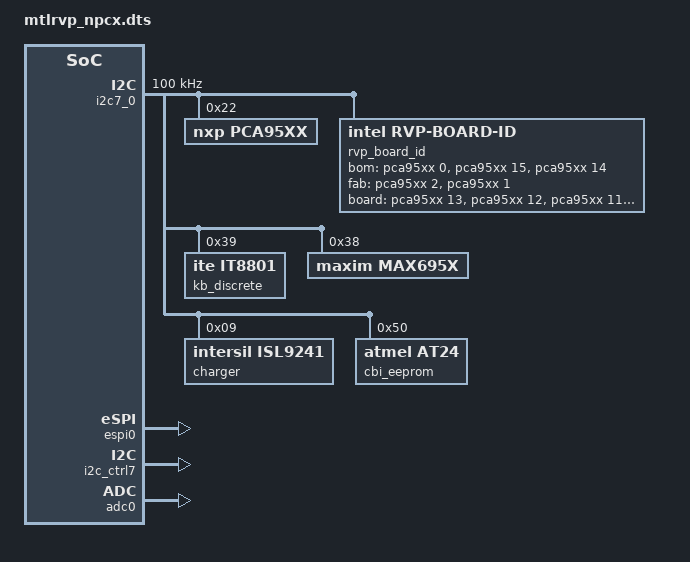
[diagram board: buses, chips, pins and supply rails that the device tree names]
/* Copyright 2022 The ChromiumOS Authors
 * Use of this source code is governed by a BSD-style license that can be
 * found in the LICENSE file.
 */

 #include <dt-bindings/usb_pd_tcpm.h>

/ {
	chosen {
		cros,rtc = &mtc;
	};

	hibernate-wake-pins {
		compatible = "cros-ec,hibernate-wake-pins";
		wakeup-irqs = <
			&int_ac_present
			&int_lid_open
			&int_power_button
		>;
	};

	named-i2c-ports {
		compatible = "named-i2c-ports";

		i2c_charger: charger {
			i2c-port = <&i2c7_0>;
			enum-names = "I2C_PORT_CHARGER",
				"I2C_PORT_BATTERY",
				"I2C_PORT_EEPROM",
				"I2C_PORT_KB_DISCRETE",
				"I2C_PORT_PORT80";
		};
	};

	named-adc-channels {
		compatible = "named-adc-channels";

		adc_ambient: ambient {
			enum-name = "ADC_TEMP_SENSOR_1";
			io-channels = <&adc0 3>;
		};
		adc_ddr: ddr {
			enum-name = "ADC_TEMP_SENSOR_2";
			io-channels = <&adc0 4>;
		};
		adc_skin: skin {
			enum-name = "ADC_TEMP_SENSOR_3";
			io-channels = <&adc0 2>;
		};
		adc_vr: vr {
			enum-name = "ADC_TEMP_SENSOR_4";
			io-channels = <&adc0 1>;
		};
	};
};

/* charger */
&i2c7_0 {
	label = "I2C_CHARGER";
	status = "okay";
	clock-frequency = <I2C_BITRATE_STANDARD>;
	pinctrl-0 = <&i2c7_0_sda_scl_gpb2_b3>;
	pinctrl-names = "default";

	pca95xx: pca95xx@22 {
		compatible = "nxp,pca95xx";
		label = "PCA95XX";
		reg = <0x22>;
		gpio-controller;
		#gpio-cells = <2>;
		ngpios = <16>;
	};

	rvp_board_id: rvp-board-id {
		compatible = "intel,rvp-board-id";

		/*
		 * BOM ID [2]   : IOEX[0]
		 * BOM ID [1:0] : IOEX[15:14]
		 */
		bom-gpios = <&pca95xx 0 0>, <&pca95xx 15 0>, <&pca95xx 14 0>;

		/*
		 * FAB ID [1:0] : IOEX[2:1]
		 */
		fab-gpios = <&pca95xx 2 0>, <&pca95xx 1 0>;

		/*
		 * BOARD ID[5:0] : IOEX[13:8]
		 */
		board-gpios = <&pca95xx 13 0>, <&pca95xx 12 0>, <&pca95xx 11 0>,
			      <&pca95xx 10 0>, <&pca95xx 9 0>, <&pca95xx 8 0>;
	};

	kb_discrete: ite-it8801@39 {
		compatible = "ite,it8801";
		reg = <0x39>;
	};

	max695x@38 {
		compatible = "maxim,max695x";
		reg = <0x38>;
	};

	charger: isl9241@9 {
		compatible = "intersil,isl9241";
		status = "okay";
		reg = <0x9>;
	};

	cbi_eeprom: eeprom@50 {
		compatible = "atmel,at24";
		reg = <0x50>;
		size = <2048>;
		pagesize = <16>;
		address-width = <8>;
		timeout = <5>;
	};
};

/* host interface */
&espi0 {
	status = "okay";
	pinctrl-0 = <&espi_lpc_gp46_47_51_52_53_54_55_57>;
	pinctrl-names = "default";
};

&i2c_ctrl7 {
	status = "okay";
};

&adc0 {
	status = "okay";
	pinctrl-0 = <&adc0_chan1_gp44
		     &adc0_chan2_gp43
		     &adc0_chan3_gp42
		     &adc0_chan4_gp41>;
	pinctrl-names = "default";
};
